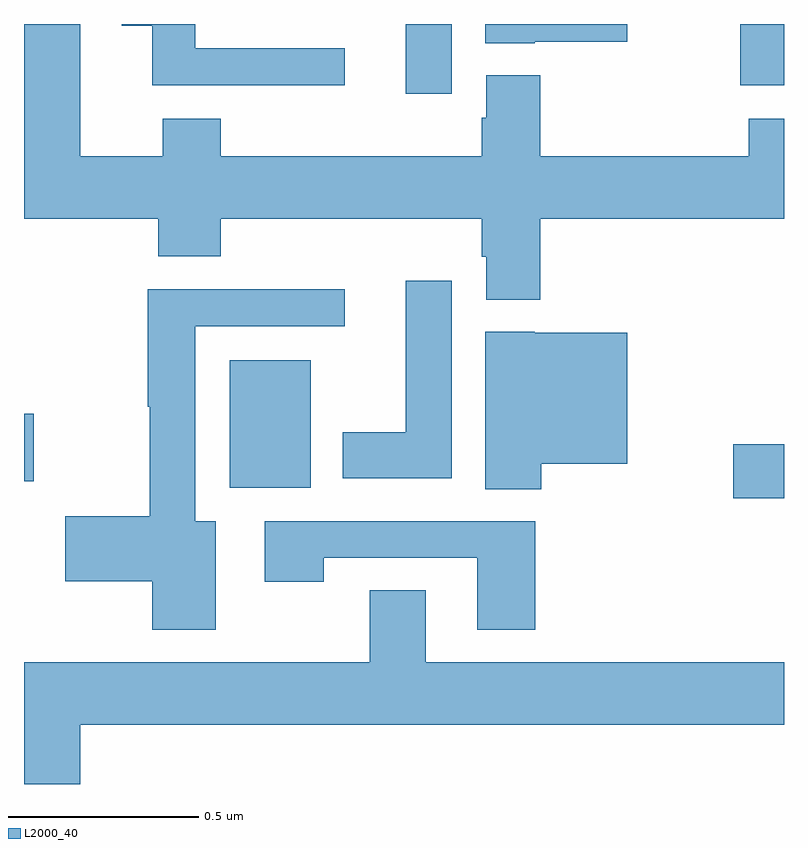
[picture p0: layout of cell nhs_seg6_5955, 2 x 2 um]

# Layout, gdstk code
import gdstk
lib = gdstk.Library(unit=1e-6, precision=1e-09)
def R(c, l, rs):  # rectangles x0, y0, x1, y1
    for r in rs: c.add(gdstk.rectangle(r[:2], r[2:], *l))
def P(c, l, *ps):  # polygons
    for p in ps: c.add(gdstk.Polygon(p, *l))
L2000_40 = (2000, 40)

nhs_seg6_5955 = lib.new_cell('nhs_seg6_5955')
R(nhs_seg6_5955, L2000_40, [(190.866,961.252,191,961.394), (189.542,961.28,189.754,961.615), (189,961.297,189.025,961.475), (190.004,962.316,190.126,962.5), (190.885,962.339,191,962.5)])
P(nhs_seg6_5955, L2000_40, [(190.344,962.453),(190.588,962.453),(190.588,962.5),(190.214,962.5),(190.214,962.45),(190.344,962.45)],
  [(189.844,962.436),(189.451,962.436),(189.451,962.5),(189.257,962.5),(189.257,962.495),(189.338,962.495),(189.338,962.339),(189.844,962.339)],
  [(190.358,961.988),(191,961.988),(191,962.251),(190.907,962.251),(190.907,962.152),(190.358,962.152),(190.358,962.365),(190.217,962.365),(190.217,962.253),(190.205,962.253),(190.205,962.152),(189.518,962.152),(189.518,962.251),(189.365,962.251),(189.365,962.152),(189.148,962.152),(189.148,962.5),(189,962.5),(189,961.988),(189.353,961.988),(189.353,961.889),(189.518,961.889),(189.518,961.988),(190.205,961.988),(190.205,961.887),(190.217,961.887),(190.217,961.775),(190.358,961.775)],
  [(190.126,961.825),(190.004,961.825),(190.004,961.426),(189.839,961.426),(189.839,961.304),(190.126,961.304)],
  [(189.505,961.192),(189.451,961.192),(189.451,961.704),(189.844,961.704),(189.844,961.802),(189.326,961.802),(189.326,961.493),(189.331,961.493),(189.331,961.205),(189.108,961.205),(189.108,961.034),(189.338,961.034),(189.338,960.906),(189.505,960.906)],
  [(190.361,961.343),(190.588,961.343),(190.588,961.687),(190.344,961.687),(190.344,961.69),(190.214,961.69),(190.214,961.276),(190.361,961.276)],
  [(190.346,961.191),(189.633,961.191),(189.633,961.032),(189.789,961.032),(189.789,961.095),(190.193,961.095),(190.193,960.906),(190.346,960.906)],
  [(189.148,960.656),(191,960.656),(191,960.82),(190.057,960.82),(190.057,961.01),(189.91,961.01),(189.91,960.82),(189,960.82),(189,960.5),(189.148,960.5)])

lib.write_gds('nhs_seg6_5955.gds')
